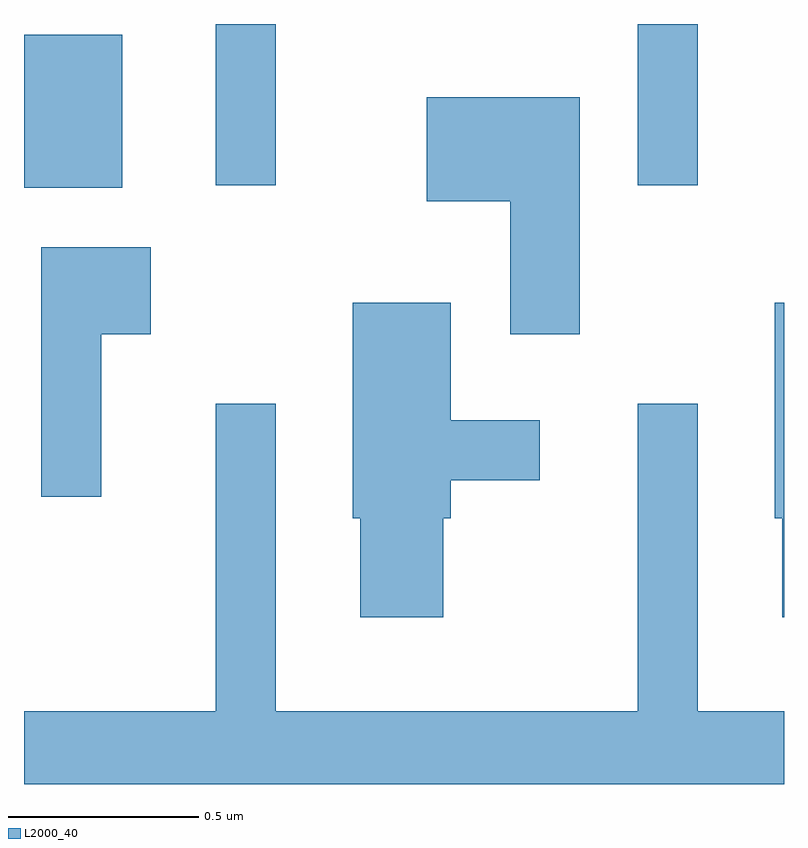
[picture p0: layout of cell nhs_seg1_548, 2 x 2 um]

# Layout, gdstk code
import gdstk
lib = gdstk.Library(unit=1e-6, precision=1e-09)
def R(c, l, rs):  # rectangles x0, y0, x1, y1
    for r in rs: c.add(gdstk.rectangle(r[:2], r[2:], *l))
def P(c, l, *ps):  # polygons
    for p in ps: c.add(gdstk.Polygon(p, *l))
L2000_40 = (2000, 40)

nhs_seg1_548 = lib.new_cell('nhs_seg1_548')
R(nhs_seg1_548, L2000_40, [(189.611,841.281,189.869,841.684), (190.116,841.288,190.274,841.712), (191.226,841.288,191.384,841.712)])
P(nhs_seg1_548, L2000_40, [(191.074,841.519),(190.671,841.519),(190.671,841.246),(190.891,841.246),(190.891,840.896),(191.074,840.896)],
  [(189.814,840.896),(189.944,840.896),(189.944,841.124),(189.656,841.124),(189.656,840.468),(189.814,840.468)],
  [(190.714,840.411),(190.734,840.411),(190.734,840.511),(190.968,840.511),(190.968,840.669),(190.734,840.669),(190.734,840.979),(190.476,840.979),(190.476,840.411),(190.496,840.411),(190.496,840.151),(190.714,840.151)],
  [(191.611,840.979),(191.586,840.979),(191.586,840.411),(191.606,840.411),(191.606,840.151),(191.611,840.151)],
  [(191.611,839.904),(191.384,839.904),(191.384,840.713),(191.226,840.713),(191.226,839.904),(190.274,839.904),(190.274,840.713),(190.116,840.713),(190.116,839.904),(189.611,839.904),(189.611,839.712),(191.611,839.712)])

lib.write_gds('nhs_seg1_548.gds')
